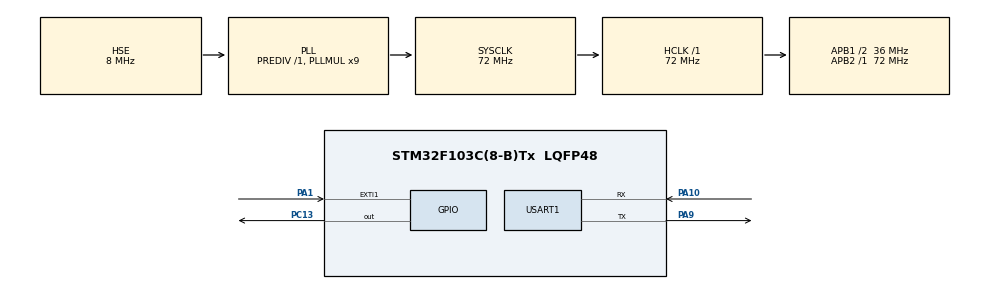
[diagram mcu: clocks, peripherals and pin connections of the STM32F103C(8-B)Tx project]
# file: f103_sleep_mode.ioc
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Mcu.Family=STM32F1
Mcu.Name=STM32F103C(8-B)Tx
Mcu.Package=LQFP48
NVIC.EXTI1_IRQn=true\:0\:0\:false\:false\:true\:true\:true\:true
NVIC.PriorityGroup=NVIC_PRIORITYGROUP_4
NVIC.USART1_IRQn=true\:0\:0\:false\:false\:true\:true\:true\:true
PA1.Signal=GPXTI1
PA10.Mode=Asynchronous
PA10.Signal=USART1_RX
PA9.Mode=Asynchronous
PA9.Signal=USART1_TX
PC13-TAMPER-RTC.Signal=GPIO_Output
PD0-OSC_IN.Mode=HSE-External-Oscillator
PD0-OSC_IN.Signal=RCC_OSC_IN
PD1-OSC_OUT.Mode=HSE-External-Oscillator
PD1-OSC_OUT.Signal=RCC_OSC_OUT
ProjectManager.HeapSize=0x200
ProjectManager.StackSize=0x400
ProjectManager.TargetToolchain=STM32CubeIDE
RCC.AHBFreq_Value=72000000
RCC.APB1CLKDivider=RCC_HCLK_DIV2
RCC.APB1Freq_Value=36000000
RCC.APB1TimFreq_Value=72000000
RCC.APB2Freq_Value=72000000
RCC.APB2TimFreq_Value=72000000
RCC.HCLKFreq_Value=72000000
RCC.PLLMUL=RCC_PLL_MUL9
RCC.PLLSourceVirtual=RCC_PLLSOURCE_HSE
RCC.SYSCLKFreq_VALUE=72000000
RCC.SYSCLKSource=RCC_SYSCLKSOURCE_PLLCLK
RCC.USBFreq_Value=72000000
USART1.VirtualMode=VM_ASYNC
board=custom

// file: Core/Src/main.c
/* USER CODE BEGIN Header */
/**
  ******************************************************************************
  * @file           : main.c
  * @brief          : Main program body
  ******************************************************************************
  * @attention
  *
  * Copyright (c) 2022 STMicroelectronics.
  * All rights reserved.
  *
  * This software is licensed under terms that can be found in the LICENSE file
  * in the root directory of this software component.
  * If no LICENSE file comes with this software, it is provided AS-IS.
  *
  ******************************************************************************
  */
/* USER CODE END Header */
#include "main.h"

/* USER CODE BEGIN Includes */
#include "string.h"
/* USER CODE END Includes */

UART_HandleTypeDef huart1;

void SystemClock_Config(void);
static void MX_GPIO_Init(void);
static void MX_USART1_UART_Init(void);

/* USER CODE BEGIN 0 */

void uart_ile_gonder(char yazilan[])
{
	HAL_UART_Transmit (&huart1,(uint8_t *) yazilan, strlen(yazilan), 10);
}

uint8_t uart_RXdata;
//UART RECEİVE İNTERRUPT CALLBACK FONKSİYONU
 void HAL_UART_RxCpltCallback(UART_HandleTypeDef *huart)
{
	 uart_ile_gonder("uart kesmesi ile uyandi\r\n");
	HAL_UART_Receive_IT(&huart1, &uart_RXdata, sizeof(uart_RXdata));
}

 void HAL_GPIO_EXTI_Callback(uint16_t GPIO_Pin)
 {
	 uart_ile_gonder("harici kesme ile uyandi\r\n");

 }
/* USER CODE END 0 */

int main(void)
{

  /* MCU Configuration--------------------------------------------------------*/

  /* Reset of all peripherals, Initializes the Flash interface and the Systick. */
  HAL_Init();

  /* Configure the system clock */
  SystemClock_Config();

  /* Initialize all configured peripherals */
  MX_GPIO_Init();
  MX_USART1_UART_Init();
  /* USER CODE BEGIN 2 */

  HAL_UART_Receive_IT(&huart1, &uart_RXdata, sizeof(uart_RXdata));
  /* USER CODE END 2 */

  /* Infinite loop */
  /* USER CODE BEGIN WHILE */
  while (1)
  {

	  uart_ile_gonder("5 saniye icerisinde sleep moda girecek\r\n");

	  HAL_GPIO_WritePin(GPIOC, GPIO_PIN_13, 0);
	  HAL_Delay(5000);

	  /*
	   Systick kesintisi ile uyanmayı önlemek için onay işareti artışını askıya alın.
		Aksi takdirde sistem kesmesi, cihazı jms (HAL zaman tabanı) ile uyandıracaktır.
	   */
	  HAL_SuspendTick();

	  HAL_GPIO_WritePin(GPIOC, GPIO_PIN_13, 1);//sadece uyku modunun etkinleştirildiğini belirtmek için

	  //sleep mode da şimdi gir
	  HAL_PWR_EnterSLEEPMode(PWR_MAINREGULATOR_ON, PWR_SLEEPENTRY_WFI);//uyandırmak için interrupt

	  HAL_ResumeTick();

	  uart_ile_gonder("Sleep mode dan uyandi!!!\r\n");

	  for(int i =0 ;i<20;i++)
	  {
		  HAL_GPIO_TogglePin(GPIOC, GPIO_PIN_13);
		  HAL_Delay(200);
	  }

    /* USER CODE END WHILE */

  }
}

void SystemClock_Config(void)
{
  RCC_OscInitTypeDef RCC_OscInitStruct = {0};
  RCC_ClkInitTypeDef RCC_ClkInitStruct = {0};

  /** Initializes the RCC Oscillators according to the specified parameters
  * in the RCC_OscInitTypeDef structure.
  */
  RCC_OscInitStruct.OscillatorType = RCC_OSCILLATORTYPE_HSE;
  RCC_OscInitStruct.HSEState = RCC_HSE_ON;
  RCC_OscInitStruct.HSEPredivValue = RCC_HSE_PREDIV_DIV1;
  RCC_OscInitStruct.HSIState = RCC_HSI_ON;
  RCC_OscInitStruct.PLL.PLLState = RCC_PLL_ON;
  RCC_OscInitStruct.PLL.PLLSource = RCC_PLLSOURCE_HSE;
  RCC_OscInitStruct.PLL.PLLMUL = RCC_PLL_MUL9;
  if (HAL_RCC_OscConfig(&RCC_OscInitStruct) != HAL_OK)
  {
    Error_Handler();
  }

  /** Initializes the CPU, AHB and APB buses clocks
  */
  RCC_ClkInitStruct.ClockType = RCC_CLOCKTYPE_HCLK|RCC_CLOCKTYPE_SYSCLK
                              |RCC_CLOCKTYPE_PCLK1|RCC_CLOCKTYPE_PCLK2;
  RCC_ClkInitStruct.SYSCLKSource = RCC_SYSCLKSOURCE_PLLCLK;
  RCC_ClkInitStruct.AHBCLKDivider = RCC_SYSCLK_DIV1;
  RCC_ClkInitStruct.APB1CLKDivider = RCC_HCLK_DIV2;
  RCC_ClkInitStruct.APB2CLKDivider = RCC_HCLK_DIV1;

  if (HAL_RCC_ClockConfig(&RCC_ClkInitStruct, FLASH_LATENCY_2) != HAL_OK)
  {
    Error_Handler();
  }
}

static void MX_USART1_UART_Init(void)
{

  huart1.Instance = USART1;
  huart1.Init.BaudRate = 115200;
  huart1.Init.WordLength = UART_WORDLENGTH_8B;
  huart1.Init.StopBits = UART_STOPBITS_1;
  huart1.Init.Parity = UART_PARITY_NONE;
  huart1.Init.Mode = UART_MODE_TX_RX;
  huart1.Init.HwFlowCtl = UART_HWCONTROL_NONE;
  huart1.Init.OverSampling = UART_OVERSAMPLING_16;
  if (HAL_UART_Init(&huart1) != HAL_OK)
  {
    Error_Handler();
  }

}

static void MX_GPIO_Init(void)
{
  GPIO_InitTypeDef GPIO_InitStruct = {0};

  /* GPIO Ports Clock Enable */
  __HAL_RCC_GPIOC_CLK_ENABLE();
  __HAL_RCC_GPIOD_CLK_ENABLE();
  __HAL_RCC_GPIOA_CLK_ENABLE();

  /*Configure GPIO pin Output Level */
  HAL_GPIO_WritePin(GPIOC, GPIO_PIN_13, GPIO_PIN_RESET);

  /*Configure GPIO pin : PC13 */
  GPIO_InitStruct.Pin = GPIO_PIN_13;
  GPIO_InitStruct.Mode = GPIO_MODE_OUTPUT_PP;
  GPIO_InitStruct.Pull = GPIO_NOPULL;
  GPIO_InitStruct.Speed = GPIO_SPEED_FREQ_LOW;
  HAL_GPIO_Init(GPIOC, &GPIO_InitStruct);

  /*Configure GPIO pin : PA1 */
  GPIO_InitStruct.Pin = GPIO_PIN_1;
  GPIO_InitStruct.Mode = GPIO_MODE_IT_RISING;
  GPIO_InitStruct.Pull = GPIO_NOPULL;
  HAL_GPIO_Init(GPIOA, &GPIO_InitStruct);

  /* EXTI interrupt init*/
  HAL_NVIC_SetPriority(EXTI1_IRQn, 0, 0);
  HAL_NVIC_EnableIRQ(EXTI1_IRQn);

}

void Error_Handler(void)
{
  __disable_irq();
  while (1)
  {
  }
}
